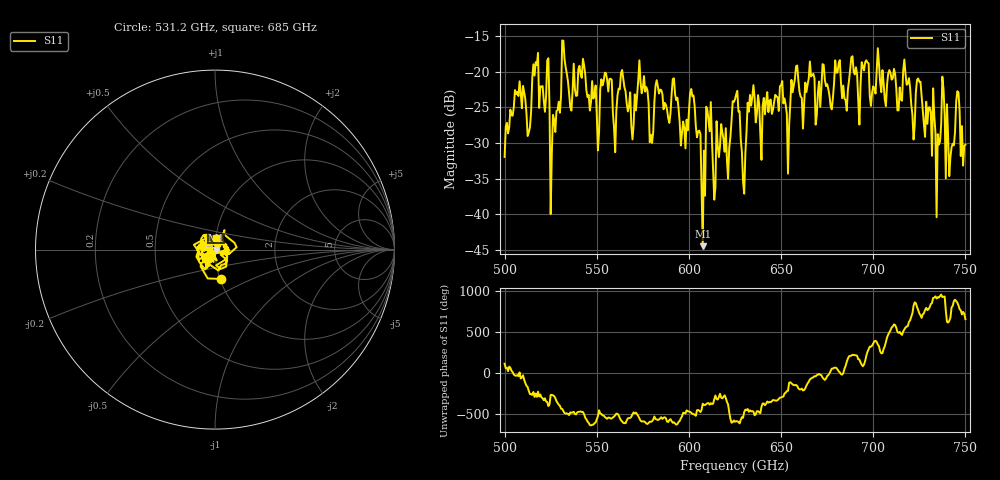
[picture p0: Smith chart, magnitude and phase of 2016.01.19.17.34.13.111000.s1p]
!Created with skrf (http://scikit-rf.org).
# GHz S RI R 50.0
!freq ReS11 ImS11
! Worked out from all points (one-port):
!   401 points, 500 GHz to 750 GHz, reference 50 ohm
!   lowest |S11| = -44.5 dB at 607.5 GHz (marker M1), VSWR 1.01, Z = 50.6 - j0.165 ohm
!   |S11| at or under -10 dB: start of sweep to end of sweep
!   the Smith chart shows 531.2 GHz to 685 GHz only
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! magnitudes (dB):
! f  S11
! 500 GHz  -32.0
! 506.9 GHz  -22.8
! 513.1 GHz  -28.5
! 516.9 GHz  -18.6
! 526.2 GHz  -26.0
! 531.2 GHz  -15.6
! 550 GHz  -26.0
! 562.5 GHz  -22.4
! 570 GHz  -27.5
! 574.4 GHz  -23.0
! 579.4 GHz  -28.8
! 583.1 GHz  -22.0
! 593.8 GHz  -23.6
! 601.9 GHz  -23.4
! 607.5 GHz  -44.5
! 610.6 GHz  -26.8
! 614.4 GHz  -36.2
! 625 GHz  -23.8
! 629.4 GHz  -35.5
! 634.4 GHz  -23.5
! 653.8 GHz  -34.3
! 656.2 GHz  -22.9
! 687.5 GHz  -19.6
! 718.8 GHz  -21.7
! 735 GHz  -28.8
! 742.5 GHz  -30.6
! 745.6 GHz  -22.7
! 750 GHz  -30.2
